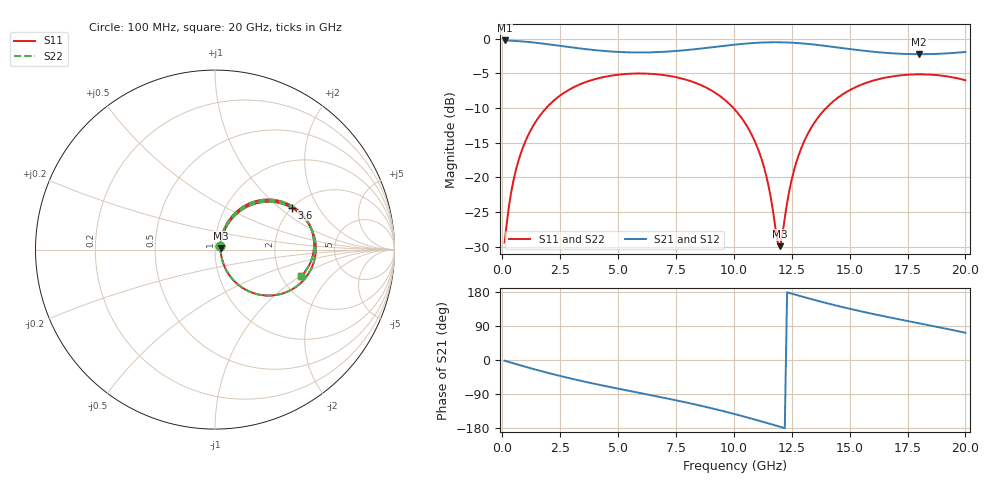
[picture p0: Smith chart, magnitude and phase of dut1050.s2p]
! Touchstone file exported from HFSS 2026.1.0
!  File:  C:/ffzhzh/LocalFiles/Ansys_Project_Files/temp_train_TSV_RDL_1050_1783296867_38704.aedt
!  Generated:  08:26:17 AM Jul  6, 2026
!  Design:  TSV_RDL
!  Project:  temp_train_TSV_RDL_1050_1783296867_38704
! Variables:
!  h_bsmrdl = 3.48um
!  h_ox = 20um
!  h_rdl = 5um
!  h_sub = 77.93um
!  h_tmrdl = 5.23um
!  h_tsv = 77.93um
!  h_via = 3um
!  l_bsmrdl = 501.4um
!  l_sub = 4826.47um
!  l_tmrdl = 711.69um
!  m_sub = 200um
!  pitch = 41.36um
!  r_tsv = 10.82um
!  s_tmrdl = 10um
!  w_bsmrdl = 12.21um
!  w_sub = 500um
!  w_tmrdl = 12.96um
!  x_tsv_center1 = 718.17um
!  x_tsv_center2 = 1231.78um
!  x_tsv_center3 = 1956.43um
!  x_tsv_center4 = 2470.04um
!  x_tsv_center5 = 3194.69um
!  x_tsv_center6 = 3708.3um
# GHz S MA R 50.000000
! Terminal data exported
! Port[1] = TM_RDL1_1_T1
! Port[2] = TM_RDL5_1_T1
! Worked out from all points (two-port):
!   200 points, 100 MHz to 20 GHz, reference 50 ohm
!   highest |S21| = -0.25 dB at 100 MHz (marker M1); lowest = -2.2 dB at 18 GHz (marker M2)
!   |S21| within 3 dB of the highest: start of sweep to end of sweep
!   lowest |S11| = -29.9 dB at 12 GHz (marker M3), VSWR 1.07, Z = 53.2 + j0.708 ohm
!   |S11| at or under -10 dB: start of sweep to 1.895 GHz; 9.982 GHz to 13.99 GHz (4.003 GHz wide, 33.4 % of centre)
!   |S22| runs from -30.0 to -5.0 dB; largest |S21 - S12| = 1.7e-14
!   S11 on the Smith chart (normalised r, x): 100 MHz: 1.06, +0.04; 3.6 GHz: 1.99, +1.22; 20 GHz: 2.54, -1.02
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0.1  0.0339 33.0  0.972 -1.9  0.972 -1.9  0.0339 33.0
! Gamma 0 0 0 0
! Port Impedance 50 0 50 0
0.3  0.06389 57.5  0.9694 -5.5  0.9694 -5.5  0.06389 57.5
0.5  0.09789 63.1  0.9657 -9.1  0.9657 -9.1  0.09789 63.1
1.1  0.1986 61.2  0.9489 -19.6  0.9489 -19.6  0.1986 61.2
2.1  0.3428 48.6  0.9072 -36.0  0.9072 -36.0  0.3428 48.6
3.5  0.4796 29.9  0.8454 -56.4  0.8454 -56.4  0.4796 29.9
3.6  0.4866 28.7  0.8416 -57.8  0.8416 -57.8  0.4866 28.7
5.2  0.5546 9.4  0.8008 -78.1  0.8008 -78.1  0.5546 9.4
6.8  0.5515 -9.1  0.8023 -97.5  0.8023 -97.5  0.5515 -9.1
8.6  0.4613 -31.0  0.8505 -121.1  0.8505 -121.1  0.4613 -31.0
10.1  0.3007 -50.8  0.9088 -143.7  0.9088 -143.7  0.3007 -50.8
10.7  0.2141 -58.0  0.928 -153.6  0.928 -153.6  0.2141 -58.0
11.2  0.135 -61.2  0.9389 -162.2  0.9389 -162.2  0.135 -61.3
11.5  0.08652 -58.5  0.9424 -167.4  0.9424 -167.4  0.08645 -58.6
11.9  0.03347 -16.9  0.9434 -174.5  0.9434 -174.5  0.03325 -17.1
12  0.0319 12.0  0.9429 -176.2  0.9429 -176.2  0.03166 12.1
12.6  0.1127 65.4  0.9345 173.3  0.9345 173.3  0.1126 65.6
13.4  0.2366 60.9  0.9102 159.8  0.9102 159.8  0.2366 61.0
14.8  0.407 43.3  0.8514 138.1  0.8514 138.1  0.407 43.3
16.7  0.53 20.2  0.788 112.7  0.788 112.7  0.5299 20.2
18  0.5535 5.5  0.7736 96.8  0.7736 96.8  0.5534 5.5
20  0.5014 -17.3  0.8031 71.9  0.8031 71.9  0.5013 -17.3
